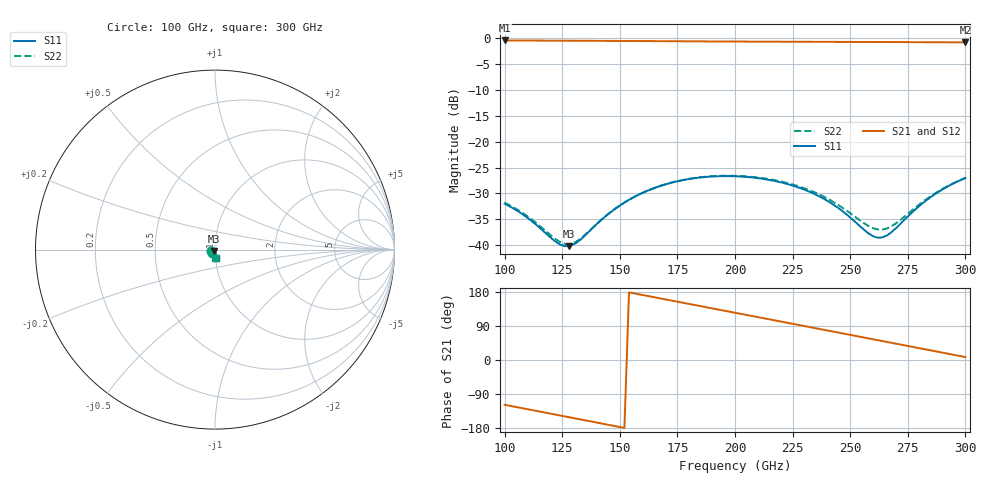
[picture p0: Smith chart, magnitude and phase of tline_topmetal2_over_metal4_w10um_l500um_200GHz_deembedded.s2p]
! Created with skrf 2.2.0 (http://scikit-rf.org).
# GHz S DB R 50.0
! Port[1] = P1
! Port[2] = P2
!freq dBS11 angS11 dBS21 angS21 dBS12 angS12 dBS22 angS22
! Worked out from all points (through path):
!   101 points, 100 GHz to 300 GHz, reference 50 ohm
!   highest |S21| = -0.40 dB at 100 GHz (marker M1); lowest = -0.8 dB at 300 GHz (marker M2)
!   group delay of S21, straight-line fit = 3.25 ps
!   lowest |S11| = -40.2 dB at 128 GHz (marker M3), VSWR 1.02, Z = 49.4 - j0.79 ohm
!   |S11| at or under -10 dB: start of sweep to end of sweep
!   |S22| runs from -39.8 to -26.6 dB; largest |S21 - S12| = 1.6e-13
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100  -32.00 -163.0  -0.40 -118.2  -0.40 -118.2  -31.80 -161.9
110  -34.76 -166.3  -0.41 -129.9  -0.41 -129.9  -34.47 -165.0
122  -39.31 -149.5  -0.43 -144.0  -0.43 -144.0  -38.83 -149.3
126  -40.22 -133.9  -0.44 -148.7  -0.44 -148.7  -39.76 -134.8
128  -40.23 -124.9  -0.45 -151.0  -0.45 -151.0  -39.83 -126.3
134  -38.54 -102.6  -0.46 -158.1  -0.46 -158.1  -38.38 -104.3
142  -35.14 -90.8  -0.47 -167.5  -0.47 -167.5  -35.11 -91.6
150  -32.36 -90.4  -0.49 -176.9  -0.49 -176.9  -32.35 -90.5
158  -30.30 -94.7  -0.51 173.8  -0.51 173.8  -30.29 -94.2
168  -28.51 -102.7  -0.53 162.0  -0.53 162.0  -28.49 -101.8
184  -26.98 -117.7  -0.57 143.3  -0.57 143.3  -26.93 -116.3
200  -26.69 -132.8  -0.61 124.7  -0.61 124.7  -26.61 -130.8
210  -27.06 -141.7  -0.62 113.0  -0.62 113.0  -26.94 -139.3
218  -27.67 -148.4  -0.64 103.7  -0.64 103.7  -27.51 -145.6
234  -30.01 -159.2  -0.66 85.0  -0.66 85.0  -29.70 -155.4
244  -32.57 -161.5  -0.67 73.3  -0.67 73.3  -32.02 -156.9
260  -38.31 -133.2  -0.70 54.6  -0.70 54.6  -36.76 -131.9
264  -38.53 -114.9  -0.70 49.9  -0.70 49.9  -37.01 -117.4
268  -37.49 -98.4  -0.71 45.2  -0.71 45.2  -36.35 -103.4
284  -31.03 -78.7  -0.74 26.5  -0.74 26.5  -30.85 -82.1
292  -28.75 -81.3  -0.75 17.1  -0.75 17.1  -28.67 -83.6
300  -27.04 -86.3  -0.77 7.8  -0.77 7.8  -27.00 -87.8
